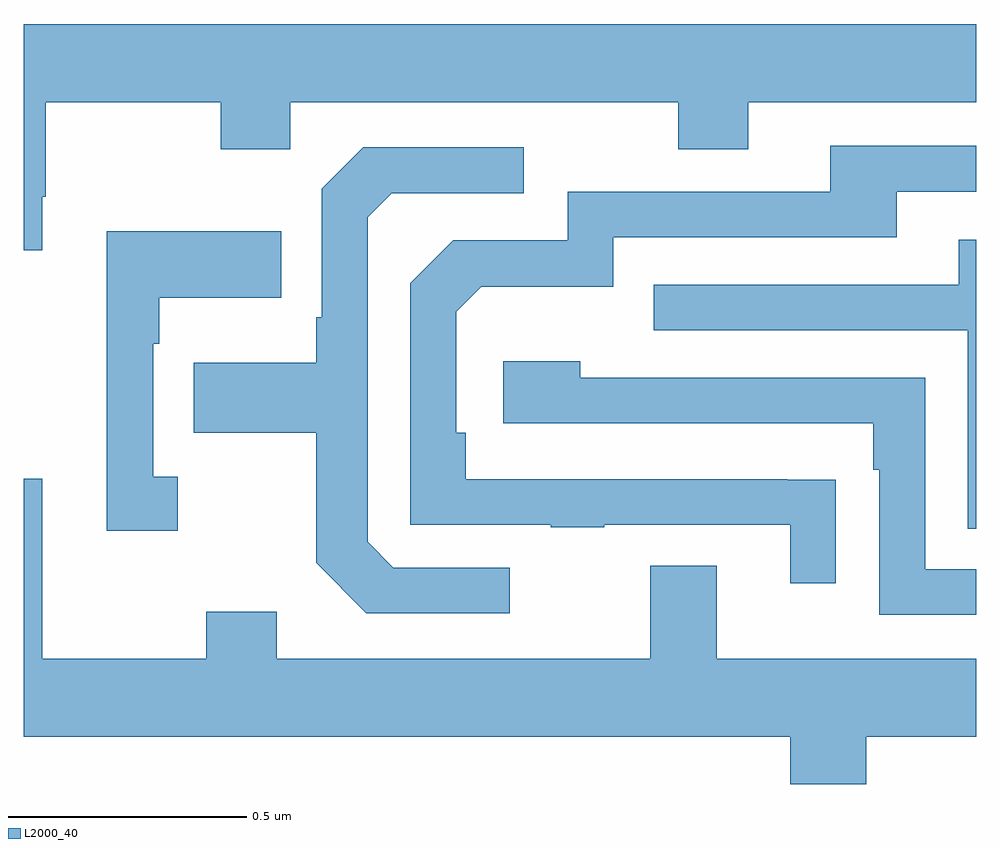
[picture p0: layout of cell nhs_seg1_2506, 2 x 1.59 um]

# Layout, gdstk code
import gdstk
lib = gdstk.Library(unit=1e-6, precision=1e-09)
def P(c, l, *ps):  # polygons
    for p in ps: c.add(gdstk.Polygon(p, *l))
L2000_40 = (2000, 40)

nhs_seg1_2506 = lib.new_cell('nhs_seg1_2506')
P(nhs_seg1_2506, L2000_40, [(142.039,555.529),(142.047,555.529),(142.047,555.728),(142.414,555.728),(142.414,555.629),(142.56,555.629),(142.56,555.728),(143.374,555.728),(143.374,555.629),(143.521,555.629),(143.521,555.728),(144,555.728),(144,555.892),(142,555.892),(142,555.417),(142.039,555.417)],
  [(143.705,554.936),(143.603,554.936),(143.603,554.937),(142.928,554.937),(142.928,555.034),(142.908,555.034),(142.908,555.288),(142.961,555.341),(143.238,555.341),(143.238,555.444),(143.833,555.444),(143.833,555.54),(144,555.54),(144,555.636),(143.693,555.636),(143.693,555.54),(143.142,555.54),(143.142,555.438),(142.902,555.438),(142.812,555.348),(142.812,554.841),(143.107,554.841),(143.107,554.836),(143.219,554.836),(143.219,554.841),(143.609,554.841),(143.609,554.718),(143.705,554.718)],
  [(143.02,554.751),(142.776,554.751),(142.722,554.805),(142.722,555.486),(142.773,555.537),(143.05,555.537),(143.05,555.633),(142.713,555.633),(142.626,555.546),(142.626,555.277),(142.614,555.277),(142.614,555.181),(142.357,555.181),(142.357,555.034),(142.614,555.034),(142.614,554.761),(142.719,554.655),(143.02,554.655)],
  [(142.324,554.942),(142.272,554.942),(142.272,555.221),(142.285,555.221),(142.285,555.317),(142.541,555.317),(142.541,555.457),(142.175,555.457),(142.175,554.829),(142.324,554.829)],
  [(144,555.439),(143.963,555.439),(143.963,555.345),(143.323,555.345),(143.323,555.249),(143.982,555.249),(143.982,554.833),(144,554.833)],
  [(144,554.748),(143.892,554.748),(143.892,555.15),(143.168,555.15),(143.168,555.184),(143.007,555.184),(143.007,555.054),(143.783,555.054),(143.783,554.957),(143.796,554.957),(143.796,554.652),(144,554.652)],
  [(143.769,554.396),(144,554.396),(144,554.56),(143.455,554.56),(143.455,554.755),(143.315,554.755),(143.315,554.56),(142.531,554.56),(142.531,554.659),(142.384,554.659),(142.384,554.56),(142.039,554.56),(142.039,554.938),(142,554.938),(142,554.396),(143.609,554.396),(143.609,554.297),(143.769,554.297)])

lib.write_gds('nhs_seg1_2506.gds')
